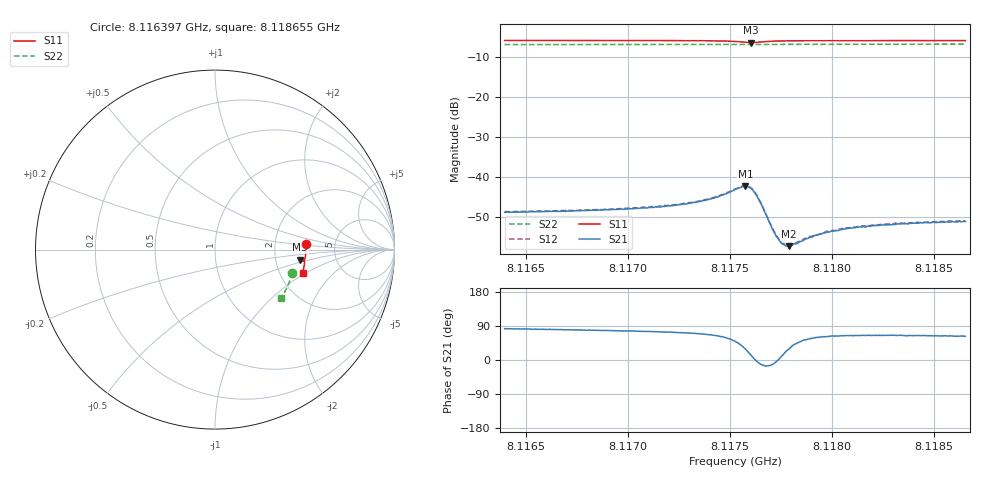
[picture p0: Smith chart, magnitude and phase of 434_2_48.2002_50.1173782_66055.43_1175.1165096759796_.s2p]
#  HZ  S  RI  R  50.00
! Rohde & Schwarz Vector Network Analyzer
! Rohde-Schwarz,ZNB20-2Port,1311601062101988,3.16
! Created: UTC 3/20/2024, 11:55:33 AM
! freq[Hz]  re:S11  im:S11  re:S21  im:S21  re:S12  im:S12  re:S22  im:S22
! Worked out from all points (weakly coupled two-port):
!   401 points, 8.116397 GHz to 8.118655 GHz, reference 50 ohm
!   highest |S21| = -42.47 dB at 8.117577 GHz (marker M1); lowest = -57.4 dB at 8.117791 GHz (marker M2)
!   lowest |S11| = -6.4 dB at 8.117605 GHz (marker M3), VSWR 2.83, Z = 138 - j19.9 ohm
!   |S11| at or under -10 dB: nowhere
!   |S22| runs from -6.9 to -6.8 dB; largest |S21 - S12| = 0.00021
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8.1163974e9  0.5064 0.0291  0.000459 0.00354  0.000503 0.00359  0.4314 -0.1282
8.1167755e9  0.5068 0.000275  0.000696 0.00369  0.00076 0.00374  0.4241 -0.1534
8.1171536e9  0.5049 -0.0296  0.00109 0.00402  0.00116 0.00412  0.4151 -0.1783
8.1172495e9  0.5038 -0.0379  0.00134 0.00423  0.00138 0.00426  0.4127 -0.1846
8.1173568e9  0.5016 -0.0476  0.00174 0.00458  0.00184 0.00462  0.4098 -0.1916
8.1174414e9  0.4981 -0.0564  0.00247 0.005  0.00257 0.00505  0.4073 -0.1971
8.1175261e9  0.4888 -0.0649  0.00448 0.00522  0.0046 0.0053  0.4046 -0.2024
8.1175599e9  0.4814 -0.0652  0.00587 0.0045  0.00606 0.00455  0.4032 -0.2044
8.1175769e9  0.4776 -0.063  0.00658 0.00366  0.00675 0.00367  0.4027 -0.2053
8.1176051e9  0.4743 -0.0555  0.00693 0.00153  0.00704 0.00149  0.4018 -0.2066
8.117622e9  0.476 -0.0506  0.00632 0.000236  0.00649 0.000212  0.4013 -0.2074
8.1176446e9  0.4813 -0.0466  0.00501 -0.000742  0.00511 -0.000791  0.4012 -0.2088
8.1177123e9  0.4942 -0.0512  0.0021 -0.00039  0.00215 -0.000395  0.3997 -0.2131
8.1177405e9  0.4965 -0.055  0.00162 4.74e-05  0.00167 1.16e-05  0.3989 -0.215
8.1177631e9  0.4976 -0.058  0.00137 0.000351  0.00141 0.000356  0.3985 -0.2165
8.1177913e9  0.4984 -0.0614  0.00118 0.000652  0.00122 0.00069  0.3974 -0.2183
8.1178308e9  0.4991 -0.0657  0.00103 0.00103  0.00107 0.00106  0.3964 -0.2208
8.1179042e9  0.499 -0.0731  0.00093 0.00148  0.000967 0.00151  0.3938 -0.2255
8.1179662e9  0.4985 -0.0787  0.000944 0.00173  0.00097 0.00178  0.3919 -0.2294
8.1180848e9  0.4972 -0.0887  0.000972 0.00203  0.000979 0.00206  0.3878 -0.2367
8.1182823e9  0.4944 -0.1043  0.00104 0.00226  0.00106 0.00232  0.381 -0.2488
8.1186547e9  0.4876 -0.1319  0.00126 0.00243  0.00131 0.00248  0.3668 -0.2711
